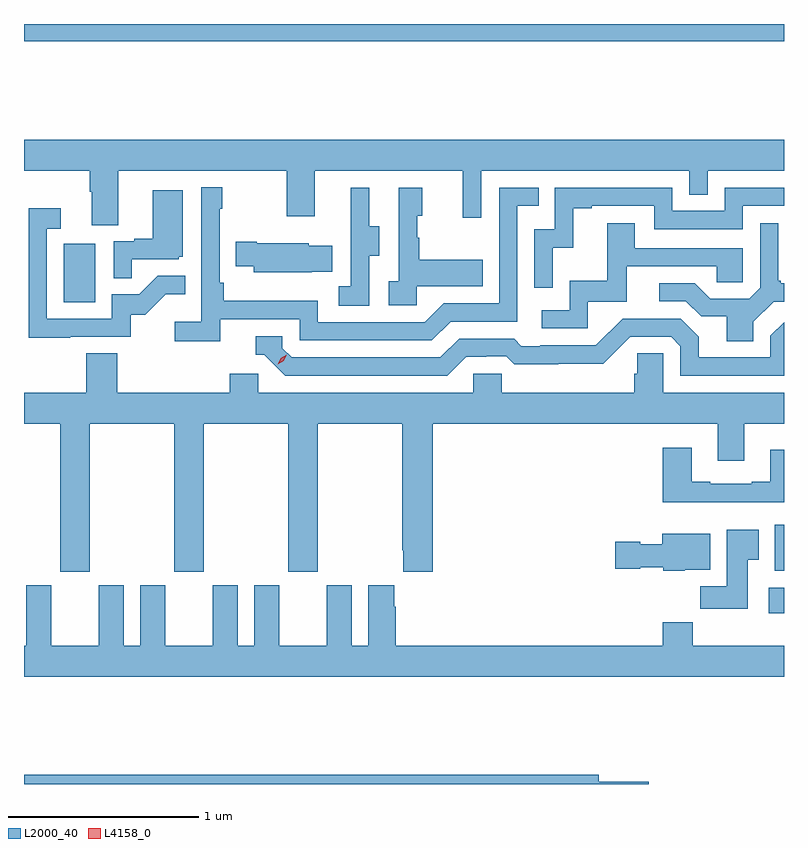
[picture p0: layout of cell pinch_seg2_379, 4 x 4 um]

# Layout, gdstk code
import gdstk
lib = gdstk.Library(unit=1e-6, precision=1e-09)
def R(c, l, rs):  # rectangles x0, y0, x1, y1
    for r in rs: c.add(gdstk.rectangle(r[:2], r[2:], *l))
def P(c, l, *ps):  # polygons
    for p in ps: c.add(gdstk.Polygon(p, *l))
L2000_40 = (2000, 40)
L4158_0 = (4158, 0)

pinch_seg2_379 = lib.new_cell('pinch_seg2_379')
R(pinch_seg2_379, L2000_40, [(973.335,612.008,973.416,612.142), (973.367,612.23,973.416,612.472), (969.626,613.644,969.79,613.951), (969.416,615.016,973.416,615.108)])
P(pinch_seg2_379, L2000_40, [(969.913,614.336),(970.798,614.336),(970.798,614.097),(970.945,614.097),(970.945,614.336),(971.726,614.336),(971.726,614.088),(971.823,614.088),(971.823,614.336),(972.918,614.336),(972.918,614.209),(973.014,614.209),(973.014,614.336),(973.416,614.336),(973.416,614.5),(969.416,614.5),(969.416,614.336),(969.761,614.336),(969.761,614.224),(969.773,614.224),(969.773,614.05),(969.913,614.05)],
  [(970.448,613.554),(970.866,613.554),(970.866,613.443),(971.563,613.443),(971.662,613.542),(972.012,613.542),(972.012,614.151),(972.125,614.151),(972.125,614.247),(971.916,614.247),(971.916,613.638),(971.625,613.638),(971.526,613.539),(970.962,613.539),(970.962,613.651),(970.466,613.651),(970.466,613.747),(970.446,613.747),(970.446,614.135),(970.459,614.135),(970.459,614.248),(970.35,614.248),(970.35,613.54),(970.209,613.54),(970.209,613.438),(970.448,613.438)],
  [(972.198,613.931),(972.308,613.931),(972.308,614.139),(972.403,614.139),(972.403,614.151),(972.732,614.151),(972.732,614.028),(973.2,614.028),(973.2,614.151),(973.416,614.151),(973.416,614.247),(973.104,614.247),(973.104,614.124),(972.828,614.124),(972.828,614.247),(972.21,614.247),(972.21,614.028),(972.102,614.028),(972.102,613.719),(972.198,613.719)],
  [(971.232,613.888),(971.287,613.888),(971.287,614.043),(971.233,614.043),(971.233,614.245),(971.135,614.245),(971.135,614.031),(971.136,614.031),(971.136,613.727),(971.073,613.727),(971.073,613.624),(971.232,613.624)],
  [(971.484,613.727),(971.831,613.727),(971.831,613.867),(971.497,613.867),(971.497,613.982),(971.487,613.982),(971.487,614.1),(971.512,614.1),(971.512,614.245),(971.388,614.245),(971.388,613.754),(971.337,613.754),(971.337,613.629),(971.484,613.629)],
  [(969.983,613.869),(970.23,613.869),(970.23,613.884),(970.252,613.884),(970.252,614.233),(970.094,614.233),(970.094,613.978),(969.995,613.978),(969.995,613.965),(969.888,613.965),(969.888,613.771),(969.983,613.771)],
  [(969.659,613.461),(969.978,613.461),(969.978,613.578),(970.054,613.578),(970.161,613.685),(970.265,613.685),(970.265,613.784),(970.121,613.784),(970.023,613.686),(969.879,613.686),(969.879,613.557),(969.537,613.557),(969.537,614.031),(969.61,614.031),(969.61,614.137),(969.441,614.137),(969.441,613.456),(969.659,613.456)],
  [(972.384,613.647),(972.589,613.647),(972.589,613.833),(973.063,613.833),(973.063,613.749),(973.2,613.749),(973.2,613.929),(972.631,613.929),(972.631,614.059),(972.487,614.059),(972.487,613.756),(972.288,613.756),(972.288,613.602),(972.141,613.602),(972.141,613.506),(972.384,613.506)],
  [(973.255,613.54),(973.362,613.647),(973.416,613.647),(973.416,613.744),(973.399,613.744),(973.399,613.756),(973.387,613.756),(973.387,614.059),(973.29,614.059),(973.29,613.719),(973.233,613.662),(973.027,613.662),(972.946,613.743),(972.759,613.743),(972.759,613.65),(972.9,613.65),(972.98,613.57),(973.115,613.57),(973.115,613.438),(973.255,613.438)],
  [(970.931,613.805),(971.039,613.805),(971.039,613.942),(970.914,613.942),(970.914,613.954),(970.642,613.954),(970.642,613.962),(970.531,613.962),(970.531,613.832),(970.625,613.832),(970.625,613.802),(970.931,613.802)],
  [(971.743,613.356),(971.85,613.356),(971.85,613.359),(971.953,613.359),(971.995,613.317),(972.228,613.317),(972.228,613.319),(972.464,613.319),(972.606,613.461),(972.822,613.461),(972.87,613.413),(972.87,613.257),(973.416,613.257),(973.416,613.539),(973.344,613.467),(973.344,613.353),(972.967,613.353),(972.967,613.463),(972.873,613.557),(972.567,613.557),(972.426,613.416),(972.133,613.416),(972.133,613.413),(972.034,613.413),(971.995,613.452),(971.706,613.452),(971.607,613.353),(970.824,613.353),(970.776,613.401),(970.776,613.464),(970.637,613.464),(970.637,613.368),(970.68,613.368),(970.791,613.257),(971.644,613.257)],
  [(969.762,613.004),(970.207,613.004),(970.207,612.225),(970.362,612.225),(970.362,613.004),(970.807,613.004),(970.807,612.225),(970.962,612.225),(970.962,613.004),(971.407,613.004),(971.407,612.337),(971.411,612.337),(971.411,612.225),(971.567,612.225),(971.567,613.004),(973.067,613.004),(973.067,612.81),(973.207,612.81),(973.207,613.004),(973.416,613.004),(973.416,613.168),(972.78,613.168),(972.78,613.376),(972.643,613.376),(972.643,613.266),(972.629,613.266),(972.629,613.168),(971.931,613.168),(971.931,613.266),(971.781,613.266),(971.781,613.168),(970.65,613.168),(970.65,613.266),(970.499,613.266),(970.499,613.168),(969.908,613.168),(969.908,613.376),(969.743,613.376),(969.743,613.168),(969.416,613.168),(969.416,613.004),(969.607,613.004),(969.607,612.225),(969.762,612.225)],
  [(973.416,612.868),(973.343,612.868),(973.343,612.7),(973.247,612.7),(973.247,612.687),(973.027,612.687),(973.027,612.7),(972.931,612.7),(972.931,612.877),(972.779,612.877),(972.779,612.59),(973.416,612.59)],
  [(973.225,612.289),(973.282,612.289),(973.282,612.445),(973.115,612.445),(973.115,612.148),(972.976,612.148),(972.976,612.03),(973.225,612.03)],
  [(972.894,612.236),(973.027,612.236),(973.027,612.424),(972.776,612.424),(972.776,612.37),(972.66,612.37),(972.66,612.383),(972.528,612.383),(972.528,612.241),(972.66,612.241),(972.66,612.248),(972.78,612.248),(972.78,612.23),(972.894,612.23)],
  [(973.416,611.836),(972.935,611.836),(972.935,611.96),(972.779,611.96),(972.779,611.836),(971.372,611.836),(971.372,612.041),(971.365,612.041),(971.365,612.154),(971.228,612.154),(971.228,611.836),(971.14,611.836),(971.14,612.154),(971.009,612.154),(971.009,611.836),(970.759,611.836),(970.759,612.154),(970.628,612.154),(970.628,611.836),(970.54,611.836),(970.54,612.154),(970.409,612.154),(970.409,611.836),(970.159,611.836),(970.159,612.154),(970.028,612.154),(970.028,611.836),(969.94,611.836),(969.94,612.154),(969.809,612.154),(969.809,611.836),(969.559,611.836),(969.559,612.154),(969.428,612.154),(969.428,611.836),(969.416,611.836),(969.416,611.672),(973.416,611.672)],
  [(972.703,611.12),(972.442,611.12),(972.442,611.156),(969.416,611.156),(969.416,611.108),(972.703,611.108)])
P(pinch_seg2_379, L4158_0, [(970.752,613.316),(970.752,613.316),(970.768,613.349),(970.798,613.368),(970.799,613.368),(970.799,613.368),(970.783,613.336),(970.752,613.316)])

lib.write_gds('pinch_seg2_379.gds')
